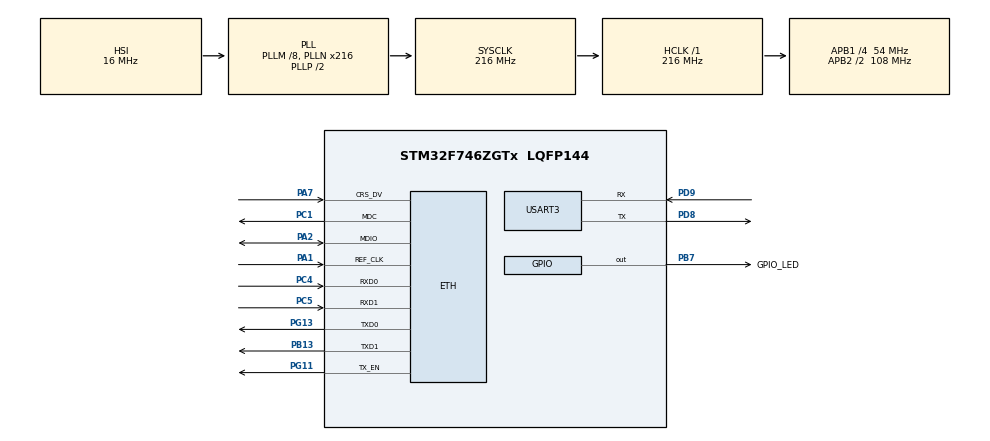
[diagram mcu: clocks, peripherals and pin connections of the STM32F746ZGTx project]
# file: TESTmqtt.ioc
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ETH.MediaInterface=HAL_ETH_RMII_MODE
Mcu.Family=STM32F7
Mcu.Name=STM32F746ZGTx
Mcu.Package=LQFP144
NVIC.ETH_IRQn=true\:0\:0\:false\:false\:true\:true\:true\:true
NVIC.PriorityGroup=NVIC_PRIORITYGROUP_4
NVIC.TIM6_DAC_IRQn=true\:15\:0\:false\:false\:true\:false\:true\:true
NVIC.TimeBase=TIM6_DAC_IRQn
NVIC.TimeBaseIP=TIM6
PA1.Mode=RMII
PA1.Signal=ETH_REF_CLK
PA2.Mode=RMII
PA2.Signal=ETH_MDIO
PA7.Mode=RMII
PA7.Signal=ETH_CRS_DV
PB13.Mode=RMII
PB13.Signal=ETH_TXD1
PB7.GPIO_Label=GPIO_LED
PB7.Signal=GPIO_Output
PC1.Mode=RMII
PC1.Signal=ETH_MDC
PC4.Mode=RMII
PC4.Signal=ETH_RXD0
PC5.Mode=RMII
PC5.Signal=ETH_RXD1
PD8.Mode=Asynchronous
PD8.Signal=USART3_TX
PD9.Mode=Asynchronous
PD9.Signal=USART3_RX
PG11.Mode=RMII
PG11.Signal=ETH_TX_EN
PG13.Mode=RMII
PG13.Signal=ETH_TXD0
ProjectManager.HeapSize=0x200
ProjectManager.StackSize=0x400
ProjectManager.TargetToolchain=STM32CubeIDE
RCC.AHBFreq_Value=216000000
RCC.APB1CLKDivider=RCC_HCLK_DIV4
RCC.APB1Freq_Value=54000000
RCC.APB1TimFreq_Value=108000000
RCC.APB2CLKDivider=RCC_HCLK_DIV2
RCC.APB2Freq_Value=108000000
RCC.APB2TimFreq_Value=216000000
RCC.CortexFreq_Value=216000000
RCC.HCLKFreq_Value=216000000
RCC.HSE_VALUE=25000000
RCC.HSI_VALUE=16000000
RCC.LSE_VALUE=32768
RCC.PLLM=8
RCC.PLLN=216
RCC.SYSCLKFreq_VALUE=216000000
RCC.SYSCLKSource=RCC_SYSCLKSOURCE_PLLCLK
RCC.USBFreq_Value=216000000
RCC.VCOOutputFreq_Value=432000000
USART3.VirtualMode-Asynchronous=VM_ASYNC
VP_SYS_VS_tim6.Mode=TIM6
board=custom

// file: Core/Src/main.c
/* USER CODE BEGIN Header */
/**
  ******************************************************************************
  * @file           : main.c
  * @brief          : Main program body
  ******************************************************************************
  * @attention
  *
  * Copyright (c) 2022 STMicroelectronics.
  * All rights reserved.
  *
  * This software is licensed under terms that can be found in the LICENSE file
  * in the root directory of this software component.
  * If no LICENSE file comes with this software, it is provided AS-IS.
  *
  ******************************************************************************
  */
/* USER CODE END Header */
#include "main.h"
#include "string.h"

/* USER CODE BEGIN Includes */
#include "mongoose.h"
/* USER CODE END Includes */

#if defined ( __ICCARM__ ) /*!< IAR Compiler */
#pragma location=0x2004c000
ETH_DMADescTypeDef  DMARxDscrTab[ETH_RX_DESC_CNT]; /* Ethernet Rx DMA Descriptors */
#pragma location=0x2004c0a0
ETH_DMADescTypeDef  DMATxDscrTab[ETH_TX_DESC_CNT]; /* Ethernet Tx DMA Descriptors */

#elif defined ( __CC_ARM )  /* MDK ARM Compiler */

__attribute__((at(0x2004c000))) ETH_DMADescTypeDef  DMARxDscrTab[ETH_RX_DESC_CNT]; /* Ethernet Rx DMA Descriptors */
__attribute__((at(0x2004c0a0))) ETH_DMADescTypeDef  DMATxDscrTab[ETH_TX_DESC_CNT]; /* Ethernet Tx DMA Descriptors */

#elif defined ( __GNUC__ ) /* GNU Compiler */
ETH_DMADescTypeDef DMARxDscrTab[ETH_RX_DESC_CNT] __attribute__((section(".RxDecripSection"))); /* Ethernet Rx DMA Descriptors */
ETH_DMADescTypeDef DMATxDscrTab[ETH_TX_DESC_CNT] __attribute__((section(".TxDecripSection")));   /* Ethernet Tx DMA Descriptors */

#endif

ETH_TxPacketConfig TxConfig;

ETH_HandleTypeDef heth;

UART_HandleTypeDef huart3;

void SystemClock_Config(void);
static void MX_GPIO_Init(void);
static void MX_USART3_UART_Init(void);
static void MX_ETH_Init(void);

/* USER CODE BEGIN 0 */
uint64_t mg_millis(void) {
	return HAL_GetTick();
}

static void fn(struct mg_connection *c, int ev, void *ev_data, void *fn_data) {
  if (ev == MG_EV_HTTP_MSG) mg_http_reply(c, 200, "", "ok\n");
}

/* USER CODE END 0 */

int main(void)
{

  /* MCU Configuration--------------------------------------------------------*/

  /* Reset of all peripherals, Initializes the Flash interface and the Systick. */
  HAL_Init();

  /* Configure the system clock */
  SystemClock_Config();

  /* Initialize all configured peripherals */
  MX_GPIO_Init();
  MX_USART3_UART_Init();
  MX_ETH_Init();
  /* USER CODE BEGIN 2 */
  struct mg_mgr mgr;
  mg_mgr_init(&mgr);

//  uint8_t GroupID = 0;
//  uint8_t DeviceID = 0;
//
//  my_add[3] = GroupID*10 + DeviceID;

  struct mip_cfg c = {.mac = {0, 0, 1, 2, 3, 4},
		  .ip = 0,
		  .mask = 0,
		  .gw = 0};
  struct mip_driver_stm32 driver_data = {.mdc_cr = 4};  // See driver_stm32.h

  mip_init(&mgr, &c, &mip_driver_stm32, &driver_data);

  extern void device_dashboard_fn(struct mg_connection *c, int ev, void *ev_data,
                                  void *fn_data);
  mg_http_listen(&mgr, "http://0.0.0.0", device_dashboard_fn, &mgr);

//  mg_http_listen(&mgr, "http://0.0.0.0", fn, &mgr);

  for (;;) mg_mgr_poll(&mgr, 100);

  /* USER CODE END 2 */

  /* Infinite loop */
  /* USER CODE BEGIN WHILE */
  while (1)
  {
	  HAL_GPIO_TogglePin(GPIOB, GPIO_PIN_7);
	  HAL_Delay(500);
//	  printf("hi 2\r\n");
    /* USER CODE END WHILE */

  }
}

void SystemClock_Config(void)
{
  RCC_OscInitTypeDef RCC_OscInitStruct = {0};
  RCC_ClkInitTypeDef RCC_ClkInitStruct = {0};

  /** Configure the main internal regulator output voltage
  */
  __HAL_RCC_PWR_CLK_ENABLE();
  __HAL_PWR_VOLTAGESCALING_CONFIG(PWR_REGULATOR_VOLTAGE_SCALE1);

  /** Initializes the RCC Oscillators according to the specified parameters
  * in the RCC_OscInitTypeDef structure.
  */
  RCC_OscInitStruct.OscillatorType = RCC_OSCILLATORTYPE_HSI;
  RCC_OscInitStruct.HSIState = RCC_HSI_ON;
  RCC_OscInitStruct.HSICalibrationValue = RCC_HSICALIBRATION_DEFAULT;
  RCC_OscInitStruct.PLL.PLLState = RCC_PLL_ON;
  RCC_OscInitStruct.PLL.PLLSource = RCC_PLLSOURCE_HSI;
  RCC_OscInitStruct.PLL.PLLM = 8;
  RCC_OscInitStruct.PLL.PLLN = 216;
  RCC_OscInitStruct.PLL.PLLP = RCC_PLLP_DIV2;
  RCC_OscInitStruct.PLL.PLLQ = 2;
  if (HAL_RCC_OscConfig(&RCC_OscInitStruct) != HAL_OK)
  {
    Error_Handler();
  }

  /** Activate the Over-Drive mode
  */
  if (HAL_PWREx_EnableOverDrive() != HAL_OK)
  {
    Error_Handler();
  }

  /** Initializes the CPU, AHB and APB buses clocks
  */
  RCC_ClkInitStruct.ClockType = RCC_CLOCKTYPE_HCLK|RCC_CLOCKTYPE_SYSCLK
                              |RCC_CLOCKTYPE_PCLK1|RCC_CLOCKTYPE_PCLK2;
  RCC_ClkInitStruct.SYSCLKSource = RCC_SYSCLKSOURCE_PLLCLK;
  RCC_ClkInitStruct.AHBCLKDivider = RCC_SYSCLK_DIV1;
  RCC_ClkInitStruct.APB1CLKDivider = RCC_HCLK_DIV4;
  RCC_ClkInitStruct.APB2CLKDivider = RCC_HCLK_DIV2;

  if (HAL_RCC_ClockConfig(&RCC_ClkInitStruct, FLASH_LATENCY_7) != HAL_OK)
  {
    Error_Handler();
  }
}

static void MX_ETH_Init(void)
{

   static uint8_t MACAddr[6];

  heth.Instance = ETH;
  MACAddr[0] = 0x00;
  MACAddr[1] = 0x80;
  MACAddr[2] = 0xE1;
  MACAddr[3] = 0x00;
  MACAddr[4] = 0x00;
  MACAddr[5] = 0x00;
  heth.Init.MACAddr = &MACAddr[0];
  heth.Init.MediaInterface = HAL_ETH_RMII_MODE;
  heth.Init.TxDesc = DMATxDscrTab;
  heth.Init.RxDesc = DMARxDscrTab;
  heth.Init.RxBuffLen = 1524;

  if (HAL_ETH_Init(&heth) != HAL_OK)
  {
    Error_Handler();
  }

  memset(&TxConfig, 0 , sizeof(ETH_TxPacketConfig));
  TxConfig.Attributes = ETH_TX_PACKETS_FEATURES_CSUM | ETH_TX_PACKETS_FEATURES_CRCPAD;
  TxConfig.ChecksumCtrl = ETH_CHECKSUM_IPHDR_PAYLOAD_INSERT_PHDR_CALC;
  TxConfig.CRCPadCtrl = ETH_CRC_PAD_INSERT;

}

static void MX_USART3_UART_Init(void)
{

  huart3.Instance = USART3;
  huart3.Init.BaudRate = 115200;
  huart3.Init.WordLength = UART_WORDLENGTH_8B;
  huart3.Init.StopBits = UART_STOPBITS_1;
  huart3.Init.Parity = UART_PARITY_NONE;
  huart3.Init.Mode = UART_MODE_TX_RX;
  huart3.Init.HwFlowCtl = UART_HWCONTROL_NONE;
  huart3.Init.OverSampling = UART_OVERSAMPLING_16;
  huart3.Init.OneBitSampling = UART_ONE_BIT_SAMPLE_DISABLE;
  huart3.AdvancedInit.AdvFeatureInit = UART_ADVFEATURE_NO_INIT;
  if (HAL_UART_Init(&huart3) != HAL_OK)
  {
    Error_Handler();
  }

}

static void MX_GPIO_Init(void)
{
  GPIO_InitTypeDef GPIO_InitStruct = {0};

  /* GPIO Ports Clock Enable */
  __HAL_RCC_GPIOC_CLK_ENABLE();
  __HAL_RCC_GPIOA_CLK_ENABLE();
  __HAL_RCC_GPIOB_CLK_ENABLE();
  __HAL_RCC_GPIOD_CLK_ENABLE();
  __HAL_RCC_GPIOG_CLK_ENABLE();

  /*Configure GPIO pin Output Level */
  HAL_GPIO_WritePin(GPIO_LED_GPIO_Port, GPIO_LED_Pin, GPIO_PIN_RESET);

  /*Configure GPIO pin : GPIO_LED_Pin */
  GPIO_InitStruct.Pin = GPIO_LED_Pin;
  GPIO_InitStruct.Mode = GPIO_MODE_OUTPUT_PP;
  GPIO_InitStruct.Pull = GPIO_NOPULL;
  GPIO_InitStruct.Speed = GPIO_SPEED_FREQ_LOW;
  HAL_GPIO_Init(GPIO_LED_GPIO_Port, &GPIO_InitStruct);

}

void HAL_TIM_PeriodElapsedCallback(TIM_HandleTypeDef *htim)
{
  if (htim->Instance == TIM6) {
    HAL_IncTick();
  }
}

void Error_Handler(void)
{
  __disable_irq();
  while (1)
  {
  }
}
